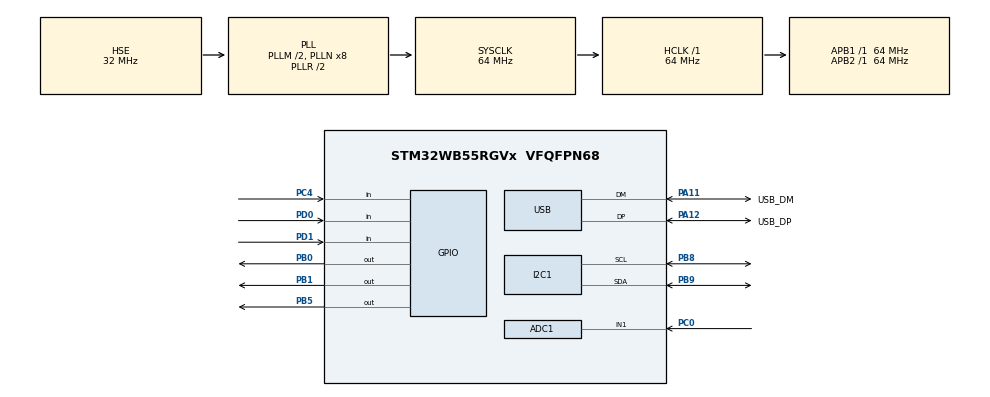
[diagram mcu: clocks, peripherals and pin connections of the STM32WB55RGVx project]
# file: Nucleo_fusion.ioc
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ADC1.Channel-0\#ChannelRegularConversion=ADC_CHANNEL_1
ADC1.ClockPrescaler=ADC_CLOCK_SYNC_PCLK_DIV1
ADC1.ContinuousConvMode=ENABLE
ADC1.DMAContinuousRequests=ENABLE
ADC1.NbrOfConversion=1
ADC1.NbrOfConversionFlag=1
ADC1.OffsetNumber-0\#ChannelRegularConversion=ADC_OFFSET_NONE
ADC1.Rank-0\#ChannelRegularConversion=1
ADC1.SamplingTime-0\#ChannelRegularConversion=ADC_SAMPLETIME_247CYCLES_5
ADC1.master=1
Dma.ADC1.0.Direction=DMA_PERIPH_TO_MEMORY
Dma.ADC1.0.EventEnable=DISABLE
Dma.ADC1.0.Instance=DMA1_Channel1
Dma.ADC1.0.MemDataAlignment=DMA_MDATAALIGN_HALFWORD
Dma.ADC1.0.MemInc=DMA_MINC_ENABLE
Dma.ADC1.0.Mode=DMA_CIRCULAR
Dma.ADC1.0.PeriphDataAlignment=DMA_PDATAALIGN_HALFWORD
Dma.ADC1.0.PeriphInc=DMA_PINC_DISABLE
Dma.ADC1.0.Polarity=HAL_DMAMUX_REQ_GEN_RISING
Dma.ADC1.0.Priority=DMA_PRIORITY_LOW
Dma.ADC1.0.RequestNumber=1
Dma.ADC1.0.SignalID=NONE
Dma.ADC1.0.SyncEnable=DISABLE
Dma.ADC1.0.SyncPolarity=HAL_DMAMUX_SYNC_NO_EVENT
Dma.ADC1.0.SyncRequestNumber=1
Dma.ADC1.0.SyncSignalID=NONE
Dma.Request0=ADC1
I2C1.Timing=0x10B17DB5
Mcu.Family=STM32WB
Mcu.Name=STM32WB55RGVx
Mcu.Package=VFQFPN68
NUCLEO-WB55RG.BUTTON=1
NUCLEO-WB55RG.BUTTON2=1
NUCLEO-WB55RG.BUTTON3=1
NUCLEO-WB55RG.LD1=true
NUCLEO-WB55RG.LD2=true
NUCLEO-WB55RG.LD3=true
NUCLEO-WB55RG.VCP=true
NVIC.ADC1_IRQn=true\:2\:0\:true\:false\:true\:true\:true\:true
NVIC.DMA1_Channel1_IRQn=true\:0\:0\:false\:false\:true\:false\:true\:true
NVIC.EXTI0_IRQn=true\:3\:0\:true\:false\:true\:false\:true\:true
NVIC.EXTI1_IRQn=true\:3\:0\:true\:false\:true\:false\:true\:true
NVIC.EXTI4_IRQn=true\:3\:0\:true\:false\:true\:false\:true\:true
NVIC.I2C1_ER_IRQn=true\:0\:0\:false\:false\:true\:true\:true\:true
NVIC.I2C1_EV_IRQn=true\:0\:0\:false\:false\:true\:true\:true\:true
NVIC.PriorityGroup=NVIC_PRIORITYGROUP_4
NVIC.TIM2_IRQn=true\:0\:0\:false\:false\:true\:true\:true\:true
NVIC.USB_HP_IRQn=true\:0\:0\:false\:false\:true\:true\:true\:true
NVIC.USB_LP_IRQn=true\:0\:0\:false\:false\:true\:true\:true\:true
OSC_IN.GPIO_Label=RCC_OSC_IN
OSC_IN.Mode=HSE-External-Oscillator
OSC_IN.Signal=RCC_OSC_IN
OSC_OUT.GPIO_Label=RCC_OSC_OUT
OSC_OUT.Mode=HSE-External-Oscillator
OSC_OUT.Signal=RCC_OSC_OUT
PA11.GPIO_Label=USB_DM
PA11.Mode=Device
PA11.Signal=USB_DM
PA12.GPIO_Label=USB_DP
PA12.Mode=Device
PA12.Signal=USB_DP
PA13.GPIO_Label=JTMS
PA13.Signal=SYS_JTMS-SWDIO
PA14.GPIO_Label=JTCK
PA14.Signal=SYS_JTCK-SWCLK
PB0.Signal=GPIO_Output
PB1.Signal=GPIO_Output
PB3.GPIO_Label=JTDO
PB3.Signal=SYS_JTDO-SWO
PB5.Signal=GPIO_Output
PB6.Signal=USART1_TX
PB7.Signal=USART1_RX
PB8.Mode=I2C
PB8.Signal=I2C1_SCL
PB9.Mode=I2C
PB9.Signal=I2C1_SDA
PC0.Signal=ADCx_IN1
PC13.GPIO_Label=SYS_WKUP2
PC13.Signal=SYS_WKUP2
PC14-OSC32_IN.GPIO_Label=RCC_OSC32_IN
PC14-OSC32_IN.Mode=LSE-External-Oscillator
PC14-OSC32_IN.Signal=RCC_OSC32_IN
PC15-OSC32_OUT.GPIO_Label=RCC_OSC32_OUT
PC15-OSC32_OUT.Mode=LSE-External-Oscillator
PC15-OSC32_OUT.Signal=RCC_OSC32_OUT
PC4.Signal=GPIO_Input
PD0.Signal=GPIO_Input
PD1.Signal=GPIO_Input
ProjectManager.HeapSize=0x200
ProjectManager.StackSize=0x400
ProjectManager.TargetToolchain=STM32CubeIDE
RCC.ADCFreq_Value=48000000
RCC.AHB2CLKDivider=RCC_SYSCLK_DIV2
RCC.AHBFreq_Value=64000000
RCC.APB1Freq_Value=64000000
RCC.APB1TimFreq_Value=64000000
RCC.APB2Freq_Value=64000000
RCC.APB2TimFreq_Value=64000000
RCC.APB3Freq_Value=16000000
RCC.Cortex2_Div=SYSTICK_CLKSOURCE_HCLK_DIV8
RCC.CortexFreq_Value=64000000
RCC.HCLKFreq_Value=64000000
RCC.HSE_VALUE=32000000
RCC.HSI48_VALUE=48000000
RCC.HSI_VALUE=16000000
RCC.PLLM=RCC_PLLM_DIV2
RCC.PLLSAI1N=6
RCC.PLLSourceVirtual=RCC_PLLSOURCE_HSE
RCC.SMPSCLockSelection=RCC_SMPSCLKSOURCE_HSI
RCC.SMPSCLockSelectionVirtual=RCC_SMPSCLKSOURCE_HSI
RCC.SMPSCLockSelectionVirtualVirtual=RCC_SMPSCLKSOURCE_HSI
RCC.SMPSDivider=1
RCC.SYSCLKFreq_VALUE=64000000
RCC.SYSCLKSource=RCC_SYSCLKSOURCE_PLLCLK
RCC.USBFreq_Value=48000000
RCC.VCOOutputFreq_Value=128000000
SH.ADCx_IN1.0=ADC1_IN1,IN1-Single-Ended
TIM2.AutoReloadPreload=TIM_AUTORELOAD_PRELOAD_ENABLE
TIM2.CounterMode=TIM_COUNTERMODE_UP
TIM2.Period=3200-1
TIM2.Prescaler=0
TIM2.TIM_MasterOutputTrigger=TIM_TRGO_UPDATE
USB_DEVICE.CLASS_NAME_FS=CDC
USB_DEVICE.USBD_DEBUG_LEVEL=2
USB_DEVICE.VirtualMode=Cdc
USB_DEVICE.VirtualModeFS=Cdc_FS
VP_MEMORYMAP_VS_MEMORYMAP.Mode=CurAppReg
VP_NUCLEO-WB55RG_VS_BSP_COMMON.Mode=COMMON
VP_TIM2_VS_ClockSourceINT.Mode=Internal
VP_USB_DEVICE_VS_USB_DEVICE_CDC_FS.Mode=CDC_FS
board=NUCLEO-WB55RG

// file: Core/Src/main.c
/* USER CODE BEGIN Header */
/**
  ******************************************************************************
  * @file           : main.c
  * @brief          : Main program body
  ******************************************************************************
  * @attention
  *
  * Copyright (c) 2024 STMicroelectronics.
  * All rights reserved.
  *
  * This software is licensed under terms that can be found in the LICENSE file
  * in the root directory of this software component.
  * If no LICENSE file comes with this software, it is provided AS-IS.
  *
  ******************************************************************************
  */
/* USER CODE END Header */
#include "main.h"
#include "usb_device.h"

/* USER CODE BEGIN Includes */
#include <stdio.h>
#include <stdint.h>
#include <string.h>
#include "usbd_cdc_if.h"
#include "bmi160_wrapper.h"

#include "BMI270_SensorAPI-master/bmi270.h"
#include "BMI270_SensorAPI-master/common.h"
/* USER CODE END Includes */

/* USER CODE BEGIN PM */
/*! Earth's gravity in m/s^2 */
#define GRAVITY_EARTH  (9.80665f)
#define AUDIO_BUFFER_SIZE 100
#define BUFFER_SIZE (1 + AUDIO_BUFFER_SIZE*sizeof(uint16_t) + 6*sizeof(float))
/*! Macros to select the sensors                   */
#define ACCEL          UINT8_C(0x00)
#define GYRO           UINT8_C(0x01)
/* USER CODE END PM */

COM_InitTypeDef BspCOMInit;
ADC_HandleTypeDef hadc1;
DMA_HandleTypeDef hdma_adc1;

I2C_HandleTypeDef hi2c1;

TIM_HandleTypeDef htim2;

/* USER CODE BEGIN PV */

/* Analog */
uint16_t ADC_reading;
/* Analog END */

/* USB */
uint8_t flag = 0;
char msg[100];
static uint8_t buffer1[BUFFER_SIZE];
static uint8_t buffer2[BUFFER_SIZE];
static uint8_t *workspace_buffer = buffer1;
static uint8_t *ready_buffer = buffer2;
/* USB END */

/* IMU */
BMI160_t imu_t;
float g_f32[3] = {0.0f, 0.0f, 0.0f};
float a_f32[3] = {0.0f, 0.0f, 0.0f};
float g = 9.81f;
/* IMU END */
/* USER CODE END PV */

void SystemClock_Config(void);
void PeriphCommonClock_Config(void);
static void MX_GPIO_Init(void);
static void MX_DMA_Init(void);
static void MX_ADC1_Init(void);
static void MX_TIM2_Init(void);
static void MX_I2C1_Init(void);
/* USER CODE BEGIN PFP */
void prepare_data_packet(float a_f32[3], float g_f32[3], uint8_t *buffer);
void prepare_data_packet_IMU(float g_f32[3], float a_f32[3], uint8_t *buffer, size_t *length);

static int8_t set_accel_gyro_config(struct bmi2_dev *bmi);
static float lsb_to_mps2(int16_t val, float g_range, uint8_t bit_width);
static float lsb_to_dps(int16_t val, float dps, uint8_t bit_width);
/* USER CODE END PFP */

/* USER CODE BEGIN 0 */
void HAL_TIM_PeriodElapsedCallback(TIM_HandleTypeDef *htim2)
  {
	static uint16_t sample_count = 0;
	static uint16_t counter = 0;

	buffer1[0] = (uint8_t)-128;
	buffer2[0] = (uint8_t)-128;

	//update buffer
	memcpy(&workspace_buffer[2*sample_count+1], &ADC_reading, sizeof(uint16_t));

	counter++;
	sample_count++;

	if (counter == 32000){
		counter = 0;
	}

	// Use the local counter to determine when to signal
	if(sample_count == AUDIO_BUFFER_SIZE)
	{
		//swap buffers so buffer points to the other buffer
		uint8_t *temp = workspace_buffer;
		workspace_buffer = ready_buffer;
		ready_buffer = temp;
		sample_count = 0;
		flag = 1;
	}
  }
/* USER CODE END 0 */

int main(void)
{

  /* USER CODE BEGIN 1 */
	int8_t rslt;
	uint8_t sensor_list[2] = { BMI2_ACCEL, BMI2_GYRO };
	struct bmi2_dev bmi;
	struct bmi2_sens_data sensor_data = { { 0 } };
	struct bmi2_sens_config config;
  /* USER CODE END 1 */

  /* MCU Configuration--------------------------------------------------------*/

  /* Reset of all peripherals, Initializes the Flash interface and the Systick. */
  HAL_Init();

  /* Configure the system clock */
  SystemClock_Config();

  /* Configure the peripherals common clocks */
  PeriphCommonClock_Config();

  /* Initialize all configured peripherals */
  MX_GPIO_Init();
  MX_DMA_Init();
  MX_ADC1_Init();
  MX_TIM2_Init();
  MX_USB_Device_Init();
  MX_I2C1_Init();
  /* USER CODE BEGIN 2 */
  //start ADC reading
  HAL_ADC_Start_DMA(&hadc1, (uint32_t *)&ADC_reading, 2);

//  if (imu_t.INIT_OK_i8 != TRUE){
//	  //HAL_GPIO_WritePin(LD3_GPIO_Port, LD3_Pin, SET);
//  }

  /* USER CODE END 2 */

  /* Initialize leds */
  BSP_LED_Init(LED_BLUE);
  BSP_LED_Init(LED_GREEN);
  BSP_LED_Init(LED_RED);

  /* Initialize USER push-button, will be used to trigger an interrupt each time it's pressed.*/
  BSP_PB_Init(BUTTON_SW1, BUTTON_MODE_EXTI);
  BSP_PB_Init(BUTTON_SW2, BUTTON_MODE_EXTI);
  BSP_PB_Init(BUTTON_SW3, BUTTON_MODE_EXTI);

  /* Initialize COM1 port (115200, 8 bits (7-bit data + 1 stop bit), no parity */
  BspCOMInit.BaudRate   = 115200;
  BspCOMInit.WordLength = COM_WORDLENGTH_8B;
  BspCOMInit.StopBits   = COM_STOPBITS_1;
  BspCOMInit.Parity     = COM_PARITY_NONE;
  BspCOMInit.HwFlowCtl  = COM_HWCONTROL_NONE;
  if (BSP_COM_Init(COM1, &BspCOMInit) != BSP_ERROR_NONE)
  {
    Error_Handler();
  }

  /* Infinite loop */
  /* USER CODE BEGIN WHILE */
  /*                                                                          ********************************************************************* */
  printf("Before init");
  while (BMI160_init(imu_t) == 1); // waits for IMU to be ready
  rslt = bmi2_interface_init(&bmi, BMI2_I2C_INTF);
  bmi2_error_codes_print_result(rslt);
  rslt = bmi270_init(&bmi);
  bmi2_error_codes_print_result(rslt);
  rslt = set_accel_gyro_config(&bmi);
  bmi2_error_codes_print_result(rslt);
  rslt = bmi2_sensor_enable(sensor_list, 2, &bmi);
  bmi2_error_codes_print_result(rslt);
  config.type = BMI2_ACCEL;

  /* Get the accel configurations. */
  rslt = bmi2_get_sensor_config(&config, 1, &bmi);
  bmi2_error_codes_print_result(rslt);

  if (imu_t.INIT_OK_i8 != TRUE){
	  printf("Stuck");
	  //HAL_GPIO_WritePin(LD3_GPIO_Port, LD3_Pin, SET);
  }
  //start ADC sampler timer
  HAL_TIM_Base_Start_IT(&htim2);
  uint8_t status;

  while (1)
  {
	  if (flag==1){
		  prepare_data_packet(a_f32, g_f32,ready_buffer);
  		  status = CDC_Transmit_FS(ready_buffer, BUFFER_SIZE);
//		  sprintf(msg, " mic: %d, ac: %f %f %f, gy: %f %f %f \r\n", ADC_reading, a_f32[0],a_f32[1],a_f32[2],g_f32[0],g_f32[1],g_f32[2]);
//		  CDC_Transmit_FS((uint8_t*)msg, sizeof(msg));

		  flag = 0;
	  }
	  bmi160ReadAccelGyro(&imu_t);
	  rslt = bmi2_get_sensor_data(&sensor_data, &bmi);
	  bmi2_error_codes_print_result(rslt);
	  // BMI270
	  /* Converting lsb to meter per second squared for 16 bit accelerometer at 2G range. */
	  a_f32[1] = lsb_to_mps2(sensor_data.acc.x, (float)2, bmi.resolution);
	  a_f32[2] = lsb_to_mps2(sensor_data.acc.y, (float)2, bmi.resolution);
	  a_f32[0] = lsb_to_mps2(sensor_data.acc.z, (float)2, bmi.resolution);

	  /* Converting lsb to degree per second for 16 bit gyro at 2000dps range. */
	  g_f32[1] = lsb_to_dps(sensor_data.gyr.x, (float)2000, bmi.resolution)*0.0174533;
	  g_f32[2] = lsb_to_dps(sensor_data.gyr.y, (float)2000, bmi.resolution)*0.0174533;
	  g_f32[0] = lsb_to_dps(sensor_data.gyr.z, (float)2000, bmi.resolution)*0.0174533;

  /*                                                                          ********************************************************************* */
    /* USER CODE END WHILE */

  }
}

void SystemClock_Config(void)
{
  RCC_OscInitTypeDef RCC_OscInitStruct = {0};
  RCC_ClkInitTypeDef RCC_ClkInitStruct = {0};

  /** Configure the main internal regulator output voltage
  */
  __HAL_PWR_VOLTAGESCALING_CONFIG(PWR_REGULATOR_VOLTAGE_SCALE1);

  /** Initializes the RCC Oscillators according to the specified parameters
  * in the RCC_OscInitTypeDef structure.
  */
  RCC_OscInitStruct.OscillatorType = RCC_OSCILLATORTYPE_HSI|RCC_OSCILLATORTYPE_HSE;
  RCC_OscInitStruct.HSEState = RCC_HSE_ON;
  RCC_OscInitStruct.HSIState = RCC_HSI_ON;
  RCC_OscInitStruct.HSICalibrationValue = RCC_HSICALIBRATION_DEFAULT;
  RCC_OscInitStruct.PLL.PLLState = RCC_PLL_ON;
  RCC_OscInitStruct.PLL.PLLSource = RCC_PLLSOURCE_HSE;
  RCC_OscInitStruct.PLL.PLLM = RCC_PLLM_DIV2;
  RCC_OscInitStruct.PLL.PLLN = 8;
  RCC_OscInitStruct.PLL.PLLP = RCC_PLLP_DIV2;
  RCC_OscInitStruct.PLL.PLLR = RCC_PLLR_DIV2;
  RCC_OscInitStruct.PLL.PLLQ = RCC_PLLQ_DIV2;
  if (HAL_RCC_OscConfig(&RCC_OscInitStruct) != HAL_OK)
  {
    Error_Handler();
  }

  /** Configure the SYSCLKSource, HCLK, PCLK1 and PCLK2 clocks dividers
  */
  RCC_ClkInitStruct.ClockType = RCC_CLOCKTYPE_HCLK4|RCC_CLOCKTYPE_HCLK2
                              |RCC_CLOCKTYPE_HCLK|RCC_CLOCKTYPE_SYSCLK
                              |RCC_CLOCKTYPE_PCLK1|RCC_CLOCKTYPE_PCLK2;
  RCC_ClkInitStruct.SYSCLKSource = RCC_SYSCLKSOURCE_PLLCLK;
  RCC_ClkInitStruct.AHBCLKDivider = RCC_SYSCLK_DIV1;
  RCC_ClkInitStruct.APB1CLKDivider = RCC_HCLK_DIV1;
  RCC_ClkInitStruct.APB2CLKDivider = RCC_HCLK_DIV1;
  RCC_ClkInitStruct.AHBCLK2Divider = RCC_SYSCLK_DIV2;
  RCC_ClkInitStruct.AHBCLK4Divider = RCC_SYSCLK_DIV1;

  if (HAL_RCC_ClockConfig(&RCC_ClkInitStruct, FLASH_LATENCY_3) != HAL_OK)
  {
    Error_Handler();
  }
}

void PeriphCommonClock_Config(void)
{
  RCC_PeriphCLKInitTypeDef PeriphClkInitStruct = {0};

  /** Initializes the peripherals clock
  */
  PeriphClkInitStruct.PeriphClockSelection = RCC_PERIPHCLK_SMPS|RCC_PERIPHCLK_USB
                              |RCC_PERIPHCLK_ADC;
  PeriphClkInitStruct.PLLSAI1.PLLN = 6;
  PeriphClkInitStruct.PLLSAI1.PLLP = RCC_PLLP_DIV2;
  PeriphClkInitStruct.PLLSAI1.PLLQ = RCC_PLLQ_DIV2;
  PeriphClkInitStruct.PLLSAI1.PLLR = RCC_PLLR_DIV2;
  PeriphClkInitStruct.PLLSAI1.PLLSAI1ClockOut = RCC_PLLSAI1_USBCLK|RCC_PLLSAI1_ADCCLK;
  PeriphClkInitStruct.UsbClockSelection = RCC_USBCLKSOURCE_PLLSAI1;
  PeriphClkInitStruct.AdcClockSelection = RCC_ADCCLKSOURCE_PLLSAI1;
  PeriphClkInitStruct.SmpsClockSelection = RCC_SMPSCLKSOURCE_HSI;
  PeriphClkInitStruct.SmpsDivSelection = RCC_SMPSCLKDIV_RANGE0;

  if (HAL_RCCEx_PeriphCLKConfig(&PeriphClkInitStruct) != HAL_OK)
  {
    Error_Handler();
  }
}

static void MX_ADC1_Init(void)
{

  ADC_ChannelConfTypeDef sConfig = {0};

  /** Common config
  */
  hadc1.Instance = ADC1;
  hadc1.Init.ClockPrescaler = ADC_CLOCK_SYNC_PCLK_DIV1;
  hadc1.Init.Resolution = ADC_RESOLUTION_12B;
  hadc1.Init.DataAlign = ADC_DATAALIGN_RIGHT;
  hadc1.Init.ScanConvMode = ADC_SCAN_DISABLE;
  hadc1.Init.EOCSelection = ADC_EOC_SINGLE_CONV;
  hadc1.Init.LowPowerAutoWait = DISABLE;
  hadc1.Init.ContinuousConvMode = ENABLE;
  hadc1.Init.NbrOfConversion = 1;
  hadc1.Init.DiscontinuousConvMode = DISABLE;
  hadc1.Init.ExternalTrigConv = ADC_SOFTWARE_START;
  hadc1.Init.ExternalTrigConvEdge = ADC_EXTERNALTRIGCONVEDGE_NONE;
  hadc1.Init.DMAContinuousRequests = ENABLE;
  hadc1.Init.Overrun = ADC_OVR_DATA_PRESERVED;
  hadc1.Init.OversamplingMode = DISABLE;
  if (HAL_ADC_Init(&hadc1) != HAL_OK)
  {
    Error_Handler();
  }

  /** Configure Regular Channel
  */
  sConfig.Channel = ADC_CHANNEL_1;
  sConfig.Rank = ADC_REGULAR_RANK_1;
  sConfig.SamplingTime = ADC_SAMPLETIME_247CYCLES_5;
  sConfig.SingleDiff = ADC_SINGLE_ENDED;
  sConfig.OffsetNumber = ADC_OFFSET_NONE;
  sConfig.Offset = 0;
  if (HAL_ADC_ConfigChannel(&hadc1, &sConfig) != HAL_OK)
  {
    Error_Handler();
  }

}

static void MX_I2C1_Init(void)
{

  hi2c1.Instance = I2C1;
  hi2c1.Init.Timing = 0x10B17DB5;
  hi2c1.Init.OwnAddress1 = 0;
  hi2c1.Init.AddressingMode = I2C_ADDRESSINGMODE_7BIT;
  hi2c1.Init.DualAddressMode = I2C_DUALADDRESS_DISABLE;
  hi2c1.Init.OwnAddress2 = 0;
  hi2c1.Init.OwnAddress2Masks = I2C_OA2_NOMASK;
  hi2c1.Init.GeneralCallMode = I2C_GENERALCALL_DISABLE;
  hi2c1.Init.NoStretchMode = I2C_NOSTRETCH_DISABLE;
  if (HAL_I2C_Init(&hi2c1) != HAL_OK)
  {
    Error_Handler();
  }

  /** Configure Analogue filter
  */
  if (HAL_I2CEx_ConfigAnalogFilter(&hi2c1, I2C_ANALOGFILTER_ENABLE) != HAL_OK)
  {
    Error_Handler();
  }

  /** Configure Digital filter
  */
  if (HAL_I2CEx_ConfigDigitalFilter(&hi2c1, 0) != HAL_OK)
  {
    Error_Handler();
  }

}

static void MX_TIM2_Init(void)
{

  TIM_ClockConfigTypeDef sClockSourceConfig = {0};
  TIM_MasterConfigTypeDef sMasterConfig = {0};

  htim2.Instance = TIM2;
  htim2.Init.Prescaler = 0;
  htim2.Init.CounterMode = TIM_COUNTERMODE_UP;
  htim2.Init.Period = 3200-1;
  htim2.Init.ClockDivision = TIM_CLOCKDIVISION_DIV1;
  htim2.Init.AutoReloadPreload = TIM_AUTORELOAD_PRELOAD_ENABLE;
  if (HAL_TIM_Base_Init(&htim2) != HAL_OK)
  {
    Error_Handler();
  }
  sClockSourceConfig.ClockSource = TIM_CLOCKSOURCE_INTERNAL;
  if (HAL_TIM_ConfigClockSource(&htim2, &sClockSourceConfig) != HAL_OK)
  {
    Error_Handler();
  }
  sMasterConfig.MasterOutputTrigger = TIM_TRGO_UPDATE;
  sMasterConfig.MasterSlaveMode = TIM_MASTERSLAVEMODE_DISABLE;
  if (HAL_TIMEx_MasterConfigSynchronization(&htim2, &sMasterConfig) != HAL_OK)
  {
    Error_Handler();
  }

}

static void MX_DMA_Init(void)
{

  /* DMA controller clock enable */
  __HAL_RCC_DMAMUX1_CLK_ENABLE();
  __HAL_RCC_DMA1_CLK_ENABLE();

  /* DMA interrupt init */
  /* DMA1_Channel1_IRQn interrupt configuration */
  HAL_NVIC_SetPriority(DMA1_Channel1_IRQn, 0, 0);
  HAL_NVIC_EnableIRQ(DMA1_Channel1_IRQn);

}

static void MX_GPIO_Init(void)
{

  /* GPIO Ports Clock Enable */
  __HAL_RCC_GPIOC_CLK_ENABLE();
  __HAL_RCC_GPIOB_CLK_ENABLE();
  __HAL_RCC_GPIOA_CLK_ENABLE();

}

/* USER CODE BEGIN 4 */
void prepare_data_packet(float a_f32[3], float g_f32[3], uint8_t *buffer) {

    memcpy(&buffer[1+2*AUDIO_BUFFER_SIZE], a_f32, sizeof(float) * 3);
    memcpy(&buffer[1+2*AUDIO_BUFFER_SIZE + sizeof(float) * 3], g_f32, sizeof(float) * 3);
}
void prepare_data_packet_IMU(float g_f32[3], float a_f32[3], uint8_t *buffer, size_t *length) {
    // Define the start byte
    buffer[0] = (uint8_t)-128;
    memcpy(&buffer[1], g_f32, sizeof(float) * 3);
    memcpy(&buffer[1 + sizeof(float) * 3], a_f32, sizeof(float) * 3);

    // Set the total length of the packet
    *length = 1 + 2 * sizeof(float) * 3;
}

static int8_t set_accel_gyro_config(struct bmi2_dev *bmi)
{
    /* Status of api are returned to this variable. */
    int8_t rslt;

    /* Structure to define accelerometer and gyro configuration. */
    struct bmi2_sens_config config[2];

    /* Configure the type of feature. */
    config[ACCEL].type = BMI2_ACCEL;
    config[GYRO].type = BMI2_GYRO;

    /* Get default configurations for the type of feature selected. */
    rslt = bmi270_set_sensor_config(config, 2, bmi);
    bmi2_error_codes_print_result(rslt);

    /* Map data ready interrupt to interrupt pin. */
    rslt = bmi2_map_data_int(BMI2_DRDY_INT, BMI2_INT1, bmi);
    bmi2_error_codes_print_result(rslt);

    if (rslt == BMI2_OK)
    {
        /* NOTE: The user can change the following configuration parameters according to their requirement. */
        /* Set Output Data Rate */
        config[ACCEL].cfg.acc.odr = BMI2_ACC_ODR_800HZ;

        /* Gravity range of the sensor (+/- 2G, 4G, 8G, 16G). */
        config[ACCEL].cfg.acc.range = BMI2_ACC_RANGE_2G;

        /* The bandwidth parameter is used to configure the number of sensor samples that are averaged
         * if it is set to 2, then 2^(bandwidth parameter) samples
         * are averaged, resulting in 4 averaged samples.
         * Note1 : For more information, refer the datasheet.
         * Note2 : A higher number of averaged samples will result in a lower noise level of the signal, but
         * this has an adverse effect on the power consumed.
         */
        config[ACCEL].cfg.acc.bwp = BMI2_ACC_NORMAL_AVG4;

        /* Enable the filter performance mode where averaging of samples
         * will be done based on above set bandwidth and ODR.
         * There are two modes
         *  0 -> Ultra low power mode
         *  1 -> High performance mode(Default)
         * For more info refer datasheet.
         */
        config[ACCEL].cfg.acc.filter_perf = BMI2_PERF_OPT_MODE;

        /* The user can change the following configuration parameters according to their requirement. */
        /* Set Output Data Rate */
        config[GYRO].cfg.gyr.odr = BMI2_GYR_ODR_800HZ;

        /* Gyroscope Angular Rate Measurement Range.By default the range is 2000dps. */
        config[GYRO].cfg.gyr.range = BMI2_GYR_RANGE_2000;

        /* Gyroscope bandwidth parameters. By default the gyro bandwidth is in normal mode. */
        config[GYRO].cfg.gyr.bwp = BMI2_GYR_NORMAL_MODE;

        /* Enable/Disable the noise performance mode for precision yaw rate sensing
         * There are two modes
         *  0 -> Ultra low power mode(Default)
         *  1 -> High performance mode
         */
        config[GYRO].cfg.gyr.noise_perf = BMI2_POWER_OPT_MODE;

        /* Enable/Disable the filter performance mode where averaging of samples
         * will be done based on above set bandwidth and ODR.
         * There are two modes
         *  0 -> Ultra low power mode
         *  1 -> High performance mode(Default)
         */
        config[GYRO].cfg.gyr.filter_perf = BMI2_PERF_OPT_MODE;

        /* Set the accel and gyro configurations. */
        rslt = bmi270_set_sensor_config(config, 2, bmi);
        bmi2_error_codes_print_result(rslt);
    }

    return rslt;
}

static float lsb_to_mps2(int16_t val, float g_range, uint8_t bit_width)
{
    double power = 2;

    float half_scale = (float)((pow((double)power, (double)bit_width) / 2.0f));

    return (GRAVITY_EARTH * val * g_range) / half_scale;
}

/*!
 * @brief This function converts lsb to degree per second for 16 bit gyro at
 * range 125, 250, 500, 1000 or 2000dps.
 */
static float lsb_to_dps(int16_t val, float dps, uint8_t bit_width)
{
    double power = 2;

    float half_scale = (float)((pow((double)power, (double)bit_width) / 2.0f));

    return (dps / (half_scale)) * (val);
}

/* USER CODE END 4 */

void Error_Handler(void)
{
  __disable_irq();
  while (1)
  {
  }
}
